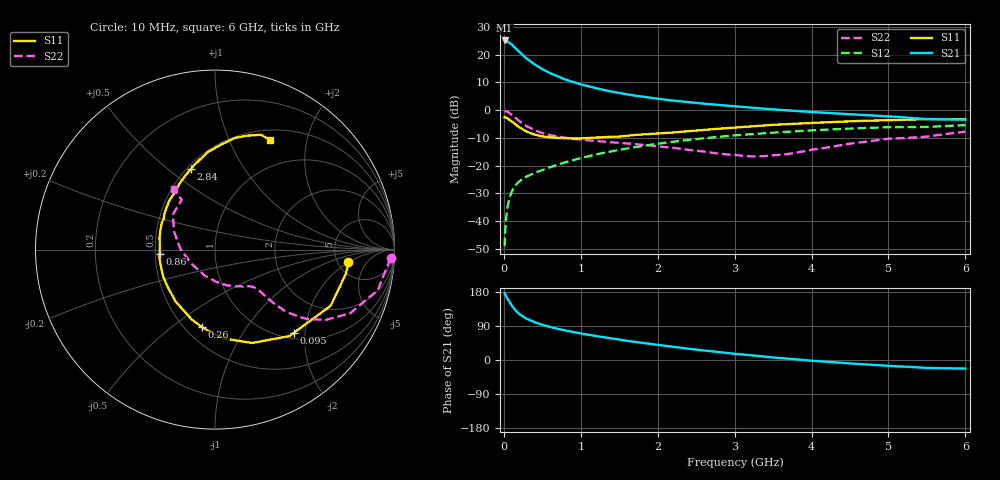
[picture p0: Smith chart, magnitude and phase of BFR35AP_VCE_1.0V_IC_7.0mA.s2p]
! Infineon Technologies  Discrete & RF Semiconductors
! BFR35AP
! VCE =  1.0 V,  IC =  7.0 mA
! Common Emitter S-Parameters:  Nov 2015
# GHz  S  MA  R  50
!  f  S11  S21  S12  S22
! GHz  MAG  ANG  MAG  ANG  MAG  ANG  MAG  ANG
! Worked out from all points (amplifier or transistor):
!   210 points, 10 MHz to 6 GHz, reference 50 ohm
!   highest |S21| = 25.2 dB at 10 MHz (marker M1)
!   |S21| within 3 dB of that: start of sweep to 159.1 MHz
!   unconditionally stable (mu >= 1): 589.5 MHz to end of sweep
!   at 185 MHz: K = 0.49, MSG = 23.8 dB, |S12| = -26.1 dB
!   at 1.52 GHz: K = 1.17, MAG = 7.7 dB, |S12| = -14.3 dB
!   at 6 GHz: K = 1.03, MAG = -0.1 dB, |S12| = -5.4 dB
!   S11 on the Smith chart (normalised r, x): 10 MHz: 6.26, -1.99; 95 MHz: 1.11, -1.75; 260 MHz: 0.61, -0.65; 860 MHz: 0.53, -0.03; 2.84 GHz: 0.52, +0.60; 6 GHz: 0.62, +1.43
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0.01  0.7471 -5.4  18.15 176.2  0.0035 89.1  0.9794 -2.8
0.025  0.7337 -13.0  17.77 170.2  0.0091 82.5  0.9575 -7.0
0.05  0.7165 -25.9  17.49 160.7  0.0185 77.5  0.9351 -13.9
0.095  0.6383 -46.7  15.65 146.1  0.0318 67.7  0.8418 -24.0
0.1  0.6355 -49.3  15.52 144.3  0.0333 67.1  0.8332 -25.2
0.15  0.56 -68.3  13.21 131.0  0.0441 60.5  0.7283 -32.6
0.2  0.4967 -84.8  11.38 121.4  0.0516 57.1  0.635 -37.3
0.26  0.4386 -99.3  9.473 113.0  0.0592 55.1  0.5523 -40.2
0.3  0.4112 -108.2  8.473 108.3  0.0638 54.6  0.511 -41.4
0.4  0.3636 -126.9  6.718 99.7  0.0733 54.7  0.4347 -42.5
0.5  0.3366 -141.1  5.494 92.6  0.0829 55.5  0.3848 -42.7
0.6  0.326 -152.3  4.672 87.1  0.0932 56.3  0.3549 -42.7
0.7  0.3161 -162.2  4.066 82.1  0.1037 56.5  0.3349 -43.0
0.86  0.3092 -175.5  3.36 75.5  0.1213 56.9  0.3096 -43.6
1.02  0.3105 172.9  2.88 69.4  0.1385 57.1  0.2921 -45.0
1.4  0.3331 152.6  2.164 56.9  0.1802 55.1  0.2646 -50.9
2.02  0.381 128.8  1.594 39.4  0.2494 49.4  0.2211 -65.8
2.84  0.4673 106.9  1.227 19.9  0.3352 39.2  0.1618 -101.4
3.1  0.4959 101.7  1.144 14.6  0.3589 35.6  0.1502 -118.4
4.1  0.5962 85.0  0.91 -3.2  0.4391 22.0  0.2013 173.4
5.1  0.6658 72.8  0.758 -16.4  0.4936 8.4  0.3089 136.8
6  0.6836 63.3  0.673 -22.6  0.5367 -1.1  0.4096 124.3
